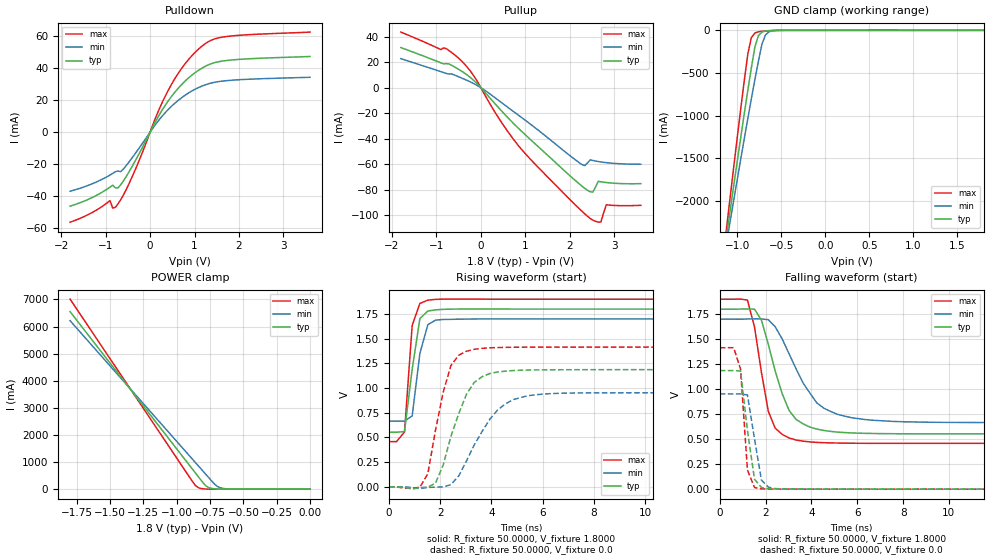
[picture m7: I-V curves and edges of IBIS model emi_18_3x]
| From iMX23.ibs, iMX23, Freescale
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|   Model emi_18_3x
[Model]  emi_18_3x
Model_type I/O
Polarity   Non-Inverting
Enable   Active-Low
Vinl =   0.3600V
Vinh =   1.4400V
Vmeas =  0.9000V
Cref =   15.0000pF
Rref =   50.0000
Vref =   0.9000V
C_comp   3.0000pF   2.0000pF   4.0000pF
[Temperature Range]   50.0000   100.0000   0.0
[Voltage Range]   1.8000V   1.7000V   1.9000V
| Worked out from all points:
|   slope of the pulldown table from 0 to 0.27 V, typ, clamps not added: 19.7 ohm
|   slope of the pullup table from 0 to 0.27 V, typ, clamps not added: 25.2 ohm
|   GND clamp passes 1 mA (typ) near -0.57 V on its own axis
|   POWER clamp passes 1 mA (typ) near -0.64 V on its own axis
|   rising waveform, R_fixture 50.0000, V_fixture 1.8000: 20-80 % time 395ps typ, 378ps min, 241ps max; typ from 0.553 V to 1.8 V
|   rising waveform, R_fixture 50.0000, V_fixture 0.0: 20-80 % time 921ps typ, 1.3ns min, 691ps max; typ from 0 V to 1.19 V
|   falling waveform, R_fixture 50.0000, V_fixture 1.8000: 20-80 % time 1.01ns typ, 1.46ns min, 653ps max; typ from 1.8 V to 0.553 V
|   falling waveform, R_fixture 50.0000, V_fixture 0.0: 20-80 % time 405ps typ, 411ps min, 252ps max; typ from 1.19 V to 0 V
[Pulldown]
|Voltage   I(typ)   I(min)   I(max)
-1.8V     -46.29mA   -36.93mA   -56.31mA
-900mV    -34.36mA   -26.8mA    -42.82mA
-840mV    -33.15mA   -25.78mA   -47.5mA
-720mV    -34.79mA   -24.32mA   -44.77mA
-600mV    -30.53mA   -23.05mA   -39.34mA
-360mV    -19.26mA   -14.35mA   -25.2mA
180mV     9.54mA     6.915mA    12.79mA
420mV     20.03mA    14.53mA    26.82mA
780mV     31.78mA    23.01mA    42.57mA
1.2V      40.63mA    29.23mA    54.58mA
1.74V     44.96mA    32.33mA    59.98mA
3.6V      47.42mA    34.4mA     62.69mA
[Pullup]
|Voltage   I(typ)   I(min)   I(max)
-1.8V     31.45mA    22.8mA     43.59mA
-780mV    18.86mA    11.18mA    30.6mA
-420mV    12.66mA    7.367mA    20.46mA
-180mV    6.329mA    3.578mA    10.3mA
360mV     -14.2mA    -8.922mA   -21.57mA
840mV     -31.64mA   -21.42mA   -45.21mA
2.28V     -77.31mA   -60.31mA   -97.02mA
2.46V     -81.55mA   -56.51mA   -102.5mA
2.64V     -73.39mA   -57.87mA   -105.4mA
2.7V      -73.74mA   -58.19mA   -105.2mA
2.82V     -74.3mA    -58.73mA   -91.77mA
3.6V      -75.18mA   -59.99mA   -92.18mA
[GND_clamp]
|Voltage   I(typ)   I(min)   I(max)
-1.8V     -7.392A    -6.698A    -8.432A
-1.12V    -2.392A    -2.476A    -2.299A
-1.08V    -2.103A    -2.232A    -1.946A
-960mV    -1.249A    -1.505A    -912.2mA
-880mV    -699.4mA   -1.031A    -273.3mA
-840mV    -438.1mA   -800mA     -84.15mA
-800mV    -194.4mA   -575.8mA   -31.11mA
-760mV    -61.03mA   -361mA     -16.93mA
-720mV    -20.07mA   -162mA     -11.24mA
-680mV    -7.935mA   -53.82mA   -7.538mA
-600mV    -1.782mA   -5.494mA   -2.6mA
1.8V      249pA      4.664uA    -7.626uA
[POWER_clamp]
|Voltage   I(typ)   I(min)   I(max)
-1.8V     6.551A     6.219A     7.013A
-860mV    599.8mA    983.1mA    135.5mA
-820mV    346.6mA    760.4mA    26.88mA
-780mV    117.6mA    537.6mA    5.051mA
-740mV    29.56mA    314.8mA    980.2uA
-700mV    7.166mA    117mA      230.3uA
-660mV    1.744mA    35.26mA    89.94uA
-560mV    85.6uA     1.63mA     50.22uA
0V        249pA      983.6pA    101.6pA
[Ramp]
| variable   typ   min   max
dV/dt_r  0.7119/0.9108n   0.5716/1.2942n   0.8490/0.6909n
dV/dt_f  0.7481/0.9966n   0.6208/1.4523n   0.8651/0.6529n
R_load = 50.0000
[Rising Waveform]
R_fixture= 50.0000
V_fixture= 1.8000
V_fixture_min= 1.7000
V_fixture_max= 1.9000
|time   V(typ)   V(min)   V(max)
0s        553.1mV    665.3mV    458.1mV
300ps     553.1mV    665.3mV    458.2mV
610ps     560.3mV    665.2mV    556.9mV
910ps     1.191V     718.6mV    1.635V
1.21ns    1.704V     1.351V     1.857V
1.52ns    1.78V      1.642V     1.891V
1.82ns    1.792V     1.688V     1.899V
2.12ns    1.797V     1.695V     1.901V
3.33ns    1.801V     1.7V       1.9V
30ns      1.8V       1.7V       1.9V
[Rising Waveform]
R_fixture= 50.0000
V_fixture= 0.0
|time   V(typ)   V(min)   V(max)
0s        0V         0V         0V
1.21ns    -7.886mV   -17.51mV   -3.406mV
1.52ns    -2.503mV   -5.812mV   132.4mV
1.82ns    37.81mV    -2.747mV   575.8mV
2.42ns    511.5mV    22.57mV    1.228V
3.03ns    938.8mV    263.8mV    1.373V
3.33ns    1.057V     424.2mV    1.393V
4.55ns    1.172V     840.8mV    1.412V
6.06ns    1.185V     940.6mV    1.415V
30ns      1.187V     952.7mV    1.415V
[Falling Waveform]
R_fixture= 50.0000
V_fixture= 1.8000
V_fixture_min= 1.7000
V_fixture_max= 1.9000
|time   V(typ)   V(min)   V(max)
0s        1.8V       1.7V       1.9V
1.21ns    1.802V     1.702V     1.891V
1.52ns    1.8V       1.704V     1.621V
1.82ns    1.691V     1.703V     1.169V
2.12ns    1.45V      1.695V     779.8mV
2.73ns    952.5mV    1.501V     547.1mV
3.33ns    697.8mV    1.204V     491.9mV
4.55ns    587.1mV    809mV      464.7mV
6.67ns    557mV      689.4mV    458.5mV
30ns      553.1mV    665.3mV    458.1mV
[Falling Waveform]
R_fixture= 50.0000
V_fixture= 0.0
|time   V(typ)   V(min)   V(max)
0s        1.187V     952.7mV    1.415V
610ps     1.187V     952.7mV    1.415V
910ps     1.182V     952.8mV    1.201V
1.21ns    588.6mV    942.2mV    191.5mV
1.52ns    98.74mV    501.3mV    15.91mV
1.82ns    16.77mV    90.91mV    3.19mV
2.12ns    3.85mV     20.57mV    2.006mV
2.42ns    2.385mV    5.969mV    1.463mV
5.76ns    108.1uV    350.3uV    24.35uV
30ns      0V         0V         0V
